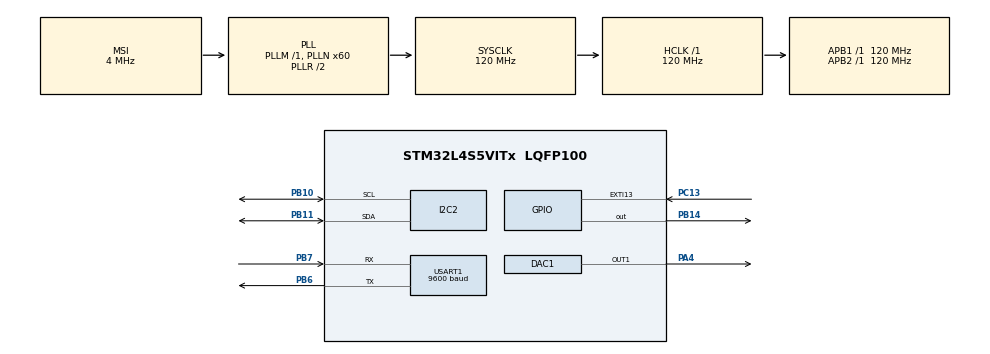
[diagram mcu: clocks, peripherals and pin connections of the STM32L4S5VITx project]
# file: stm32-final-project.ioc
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DAC1.DAC_Trigger-DAC_OUT1=DAC_TRIGGER_T2_TRGO
Dma.DAC1_CH1.0.Direction=DMA_MEMORY_TO_PERIPH
Dma.DAC1_CH1.0.EventEnable=DISABLE
Dma.DAC1_CH1.0.Instance=DMA1_Channel1
Dma.DAC1_CH1.0.MemDataAlignment=DMA_MDATAALIGN_WORD
Dma.DAC1_CH1.0.MemInc=DMA_MINC_ENABLE
Dma.DAC1_CH1.0.Mode=DMA_CIRCULAR
Dma.DAC1_CH1.0.PeriphDataAlignment=DMA_PDATAALIGN_HALFWORD
Dma.DAC1_CH1.0.PeriphInc=DMA_PINC_DISABLE
Dma.DAC1_CH1.0.Polarity=HAL_DMAMUX_REQUEST_GEN_RISING
Dma.DAC1_CH1.0.Priority=DMA_PRIORITY_LOW
Dma.DAC1_CH1.0.RequestNumber=1
Dma.DAC1_CH1.0.SignalID=NONE
Dma.DAC1_CH1.0.SyncEnable=DISABLE
Dma.DAC1_CH1.0.SyncPolarity=HAL_DMAMUX_SYNC_NO_EVENT
Dma.DAC1_CH1.0.SyncRequestNumber=1
Dma.DAC1_CH1.0.SyncSignalID=NONE
Dma.Request0=DAC1_CH1
I2C2.Timing=0x30A175AB
Mcu.Family=STM32L4
Mcu.Name=STM32L4S5VITx
Mcu.Package=LQFP100
NVIC.DMA1_Channel1_IRQn=true\:0\:0\:false\:false\:true\:false\:true\:true
NVIC.EXTI15_10_IRQn=true\:0\:0\:false\:false\:true\:true\:true\:true
NVIC.PriorityGroup=NVIC_PRIORITYGROUP_4
NVIC.TIM3_IRQn=true\:0\:0\:false\:false\:true\:true\:true\:true
NVIC.TIM6_DAC_IRQn=true\:0\:0\:false\:false\:true\:true\:true\:true
PA4.Signal=COMP_DAC11_group
PB10.Mode=I2C
PB10.Signal=I2C2_SCL
PB11.Mode=I2C
PB11.Signal=I2C2_SDA
PB14.Signal=GPIO_Output
PB6.Mode=Asynchronous
PB6.Signal=USART1_TX
PB7.Mode=Asynchronous
PB7.Signal=USART1_RX
PC13.GPIO_ModeDefaultEXTI=GPIO_MODE_IT_RISING_FALLING
PC13.Signal=GPXTI13
ProjectManager.HeapSize=0x200
ProjectManager.StackSize=0x400
ProjectManager.TargetToolchain=STM32CubeIDE
RCC.ADCFreq_Value=48000000
RCC.AHBFreq_Value=120000000
RCC.APB1Freq_Value=120000000
RCC.APB1TimFreq_Value=120000000
RCC.APB2Freq_Value=120000000
RCC.APB2TimFreq_Value=120000000
RCC.CortexFreq_Value=120000000
RCC.HCLKFreq_Value=120000000
RCC.HSE_VALUE=8000000
RCC.HSI48_VALUE=48000000
RCC.HSI_VALUE=16000000
RCC.LSE_VALUE=32768
RCC.MSI_VALUE=4000000
RCC.PLLN=60
RCC.PLLSAI1N=24
RCC.SYSCLKFreq_VALUE=120000000
RCC.SYSCLKSource=RCC_SYSCLKSOURCE_PLLCLK
RCC.USBFreq_Value=48000000
RCC.VCOOutputFreq_Value=240000000
SH.COMP_DAC11_group.0=DAC1_OUT1,DAC_OUT1
TIM2.Period=2721
TIM2.TIM_MasterOutputTrigger=TIM_TRGO_UPDATE
TIM3.Period=1000
TIM3.Prescaler=11999
USART1.BaudRate=9600
USART1.VirtualMode-Asynchronous=VM_ASYNC
VP_TIM2_VS_ClockSourceINT.Mode=Internal
VP_TIM3_VS_ClockSourceINT.Mode=Internal
board=B-L4S5I-IOT01A

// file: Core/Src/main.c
/* USER CODE BEGIN Header */
/**
  ******************************************************************************
  * @file           : main.c
  * @brief          : Main program body
  ******************************************************************************
  * @attention
  *
  * Copyright (c) 2024 STMicroelectronics.
  * All rights reserved.
  *
  * This software is licensed under terms that can be found in the LICENSE file
  * in the root directory of this software component.
  * If no LICENSE file comes with this software, it is provided AS-IS.
  *
  ******************************************************************************
  */
/* USER CODE END Header */
#include "main.h"

/* USER CODE BEGIN Includes */
#include "arm_math.h"
#include "stm32l4s5i_iot01_accelero.h"
#include "kalman_filter.h"
/* USER CODE END Includes */

DAC_HandleTypeDef hdac1;
DMA_HandleTypeDef hdma_dac1_ch1;

I2C_HandleTypeDef hi2c2;

TIM_HandleTypeDef htim2;
TIM_HandleTypeDef htim3;

UART_HandleTypeDef huart1;

/* USER CODE BEGIN PV */
uint32_t sawtoothWave_1[110];
uint32_t sawtoothWave_2[55];
uint32_t sawtoothWave_3[28];
uint32_t* waves[] = {sawtoothWave_1, sawtoothWave_2, sawtoothWave_3};
int sizes[3] = {110, 55, 28};
int buttonPressed = 0;
uint16_t BTN_Pin = GPIO_PIN_13;
int playSound;
int wave;
/* USER CODE END PV */

void SystemClock_Config(void);
static void MX_GPIO_Init(void);
static void MX_DMA_Init(void);
static void MX_I2C2_Init(void);
static void MX_USART1_UART_Init(void);
static void MX_DAC1_Init(void);
static void MX_TIM2_Init(void);
static void MX_TIM3_Init(void);

/* USER CODE BEGIN 0 */
void HAL_GPIO_EXTI_Callback(uint16_t GPIO_Pin) {
    if (GPIO_Pin == BTN_Pin) {
    	// When pushbutton is held down
        if (HAL_GPIO_ReadPin(GPIOC, BTN_Pin) == GPIO_PIN_RESET) {
            buttonPressed = 1;
            HAL_TIM_Base_Start_IT(&htim3); // Start TIM3 interrupt
        }
        // When pushbutton is released
        else {
            buttonPressed = 0;
            HAL_TIM_Base_Stop_IT(&htim3); // Stop TIM3 interrupt
            HAL_DAC_Stop_DMA(&hdac1, DAC_CHANNEL_1); // Ensure DAC is stopped
        }
    }
}

void HAL_TIM_PeriodElapsedCallback(TIM_HandleTypeDef *htim) {
    if (htim == &htim3 && buttonPressed) {
        if (playSound) {
        	// Stop the sound (to create an arpeggio effect while button is held down)
            HAL_DAC_Stop_DMA(&hdac1, DAC_CHANNEL_1);
            playSound = 0;
        } else {
        	wave = (wave + 1) % 3; // Switch to another waveform
        	uint32_t* sawtoothWave = waves[wave];

        	// Start the sound
            int size = sizes[wave];
            HAL_DAC_Start_DMA(&hdac1, DAC_CHANNEL_1, sawtoothWave, size, DAC_ALIGN_12B_R);
            playSound = 1;
        }
    }
}

/* USER CODE END 0 */

int main(void)
{

  /* MCU Configuration--------------------------------------------------------*/

  /* Reset of all peripherals, Initializes the Flash interface and the Systick. */
  HAL_Init();

  /* USER CODE BEGIN Init */
  BSP_ACCELERO_Init();

  /* USER CODE END Init */

  /* Configure the system clock */
  SystemClock_Config();

  /* Initialize all configured peripherals */
  MX_GPIO_Init();
  MX_DMA_Init();
  MX_I2C2_Init();
  MX_USART1_UART_Init();
  MX_DAC1_Init();
  MX_TIM2_Init();
  MX_TIM3_Init();
  /* USER CODE BEGIN 2 */
  int16_t acceleroVal[3];

  float pitch, roll;

  char output[100];

  struct kstate {
      float q;
      float r;
      float x;
      float p;
      float k;
  };
  // Adjust parameters for precision
  struct kstate roll_filter = {0.01f, 0.1f, 0.0f, 1.0f, 0.0f};
  struct kstate pitch_filter = {0.01f, 0.1f, 0.0f, 1.0f, 0.0f};

  // Sawtooth waveform generation
  for (uint32_t j = 0; j < 110; j++){ // 400 Hz
	  sawtoothWave_1[j] = j * 37;
  }

  for (uint32_t j = 0; j < 55; j++){ // 800 Hz
  	  sawtoothWave_2[j] = j * 74;
  }

  for (uint32_t j = 0; j < 28; j++){ // 1575 Hz
  	  sawtoothWave_3[j] = j * 146;
  }

  HAL_DAC_Start(&hdac1, DAC_CHANNEL_1);
  HAL_TIM_Base_Start_IT(&htim2);
  HAL_TIM_Base_Start_IT(&htim3);
  /* USER CODE END 2 */

  /* Infinite loop */
  while (1)
  {

    /* USER CODE BEGIN 3 */
	  // Get accelerometer data (X, Y, Z axes) and store it in acceleroVal array
	  BSP_ACCELERO_AccGetXYZ(acceleroVal);

	  // Convert raw accelerometer readings to floating-point values for calculations
	  float ax = (float)acceleroVal[0];
	  float ay = (float)acceleroVal[1];
	  float az = (float)acceleroVal[2];

	  // Compute denominator for pitch calculation: sqrt(ay^2 + az^2)
	  float pitch_denom = sqrtf(ay * ay + az * az);
	  // Compute denominator for roll calculation: sqrt(ax^2 + az^2)
	  float roll_denom = sqrtf(ax * ax + az * az);

	  // Calculate pitch angle (in degrees) using arctangent formula
	  pitch = atan2f(-ax, pitch_denom) * (180.0f / M_PI);
	  // Calculate roll angle (in degrees) using arctangent formula
	  roll = atan2f(ay, roll_denom) * (180.0f / M_PI);

	  // Update Kalman filters for roll and pitch angles (only update if no floating point exception occurs)
	  if (kalmanFilter_update(&roll_filter, roll) == 0) {
		  roll = roll_filter.x;
	  }
	  if (kalmanFilter_update(&pitch_filter, pitch) == 0) {
		  pitch = pitch_filter.x;
	  }

	  // Format the roll, pitch, and buttonPressed status into a string for UART transmission
	  sprintf(output, "Roll: %.2f, Pitch: %.2f, Button: %d\r\n", roll, pitch, buttonPressed);

	  // Transmit the formatted string over UART (timeout of 10 seconds)
	  int16_t len = strlen(output);
	  HAL_UART_Transmit(&huart1, (uint8_t*)output, len, 10000);

	  HAL_Delay(10);
  }
  /* USER CODE END 3 */
}

void SystemClock_Config(void)
{
  RCC_OscInitTypeDef RCC_OscInitStruct = {0};
  RCC_ClkInitTypeDef RCC_ClkInitStruct = {0};

  /** Configure the main internal regulator output voltage
  */
  if (HAL_PWREx_ControlVoltageScaling(PWR_REGULATOR_VOLTAGE_SCALE1_BOOST) != HAL_OK)
  {
    Error_Handler();
  }

  /** Initializes the RCC Oscillators according to the specified parameters
  * in the RCC_OscInitTypeDef structure.
  */
  RCC_OscInitStruct.OscillatorType = RCC_OSCILLATORTYPE_MSI;
  RCC_OscInitStruct.MSIState = RCC_MSI_ON;
  RCC_OscInitStruct.MSICalibrationValue = 0;
  RCC_OscInitStruct.MSIClockRange = RCC_MSIRANGE_6;
  RCC_OscInitStruct.PLL.PLLState = RCC_PLL_ON;
  RCC_OscInitStruct.PLL.PLLSource = RCC_PLLSOURCE_MSI;
  RCC_OscInitStruct.PLL.PLLM = 1;
  RCC_OscInitStruct.PLL.PLLN = 60;
  RCC_OscInitStruct.PLL.PLLP = RCC_PLLP_DIV2;
  RCC_OscInitStruct.PLL.PLLQ = RCC_PLLQ_DIV2;
  RCC_OscInitStruct.PLL.PLLR = RCC_PLLR_DIV2;
  if (HAL_RCC_OscConfig(&RCC_OscInitStruct) != HAL_OK)
  {
    Error_Handler();
  }

  /** Initializes the CPU, AHB and APB buses clocks
  */
  RCC_ClkInitStruct.ClockType = RCC_CLOCKTYPE_HCLK|RCC_CLOCKTYPE_SYSCLK
                              |RCC_CLOCKTYPE_PCLK1|RCC_CLOCKTYPE_PCLK2;
  RCC_ClkInitStruct.SYSCLKSource = RCC_SYSCLKSOURCE_PLLCLK;
  RCC_ClkInitStruct.AHBCLKDivider = RCC_SYSCLK_DIV1;
  RCC_ClkInitStruct.APB1CLKDivider = RCC_HCLK_DIV1;
  RCC_ClkInitStruct.APB2CLKDivider = RCC_HCLK_DIV1;

  if (HAL_RCC_ClockConfig(&RCC_ClkInitStruct, FLASH_LATENCY_5) != HAL_OK)
  {
    Error_Handler();
  }
}

static void MX_DAC1_Init(void)
{

  DAC_ChannelConfTypeDef sConfig = {0};

  /** DAC Initialization
  */
  hdac1.Instance = DAC1;
  if (HAL_DAC_Init(&hdac1) != HAL_OK)
  {
    Error_Handler();
  }

  /** DAC channel OUT1 config
  */
  sConfig.DAC_SampleAndHold = DAC_SAMPLEANDHOLD_DISABLE;
  sConfig.DAC_Trigger = DAC_TRIGGER_T2_TRGO;
  sConfig.DAC_HighFrequency = DAC_HIGH_FREQUENCY_INTERFACE_MODE_ABOVE_80MHZ;
  sConfig.DAC_OutputBuffer = DAC_OUTPUTBUFFER_ENABLE;
  sConfig.DAC_ConnectOnChipPeripheral = DAC_CHIPCONNECT_DISABLE;
  sConfig.DAC_UserTrimming = DAC_TRIMMING_FACTORY;
  if (HAL_DAC_ConfigChannel(&hdac1, &sConfig, DAC_CHANNEL_1) != HAL_OK)
  {
    Error_Handler();
  }

}

static void MX_I2C2_Init(void)
{

  hi2c2.Instance = I2C2;
  hi2c2.Init.Timing = 0x30A175AB;
  hi2c2.Init.OwnAddress1 = 0;
  hi2c2.Init.AddressingMode = I2C_ADDRESSINGMODE_7BIT;
  hi2c2.Init.DualAddressMode = I2C_DUALADDRESS_DISABLE;
  hi2c2.Init.OwnAddress2 = 0;
  hi2c2.Init.OwnAddress2Masks = I2C_OA2_NOMASK;
  hi2c2.Init.GeneralCallMode = I2C_GENERALCALL_DISABLE;
  hi2c2.Init.NoStretchMode = I2C_NOSTRETCH_DISABLE;
  if (HAL_I2C_Init(&hi2c2) != HAL_OK)
  {
    Error_Handler();
  }

  /** Configure Analogue filter
  */
  if (HAL_I2CEx_ConfigAnalogFilter(&hi2c2, I2C_ANALOGFILTER_ENABLE) != HAL_OK)
  {
    Error_Handler();
  }

  /** Configure Digital filter
  */
  if (HAL_I2CEx_ConfigDigitalFilter(&hi2c2, 0) != HAL_OK)
  {
    Error_Handler();
  }

}

static void MX_TIM2_Init(void)
{

  TIM_ClockConfigTypeDef sClockSourceConfig = {0};
  TIM_MasterConfigTypeDef sMasterConfig = {0};

  htim2.Instance = TIM2;
  htim2.Init.Prescaler = 0;
  htim2.Init.CounterMode = TIM_COUNTERMODE_UP;
  htim2.Init.Period = 2721;
  htim2.Init.ClockDivision = TIM_CLOCKDIVISION_DIV1;
  htim2.Init.AutoReloadPreload = TIM_AUTORELOAD_PRELOAD_DISABLE;
  if (HAL_TIM_Base_Init(&htim2) != HAL_OK)
  {
    Error_Handler();
  }
  sClockSourceConfig.ClockSource = TIM_CLOCKSOURCE_INTERNAL;
  if (HAL_TIM_ConfigClockSource(&htim2, &sClockSourceConfig) != HAL_OK)
  {
    Error_Handler();
  }
  sMasterConfig.MasterOutputTrigger = TIM_TRGO_UPDATE;
  sMasterConfig.MasterSlaveMode = TIM_MASTERSLAVEMODE_DISABLE;
  if (HAL_TIMEx_MasterConfigSynchronization(&htim2, &sMasterConfig) != HAL_OK)
  {
    Error_Handler();
  }

}

static void MX_TIM3_Init(void)
{

  TIM_ClockConfigTypeDef sClockSourceConfig = {0};
  TIM_MasterConfigTypeDef sMasterConfig = {0};

  htim3.Instance = TIM3;
  htim3.Init.Prescaler = 11999;
  htim3.Init.CounterMode = TIM_COUNTERMODE_UP;
  htim3.Init.Period = 1000;
  htim3.Init.ClockDivision = TIM_CLOCKDIVISION_DIV1;
  htim3.Init.AutoReloadPreload = TIM_AUTORELOAD_PRELOAD_DISABLE;
  if (HAL_TIM_Base_Init(&htim3) != HAL_OK)
  {
    Error_Handler();
  }
  sClockSourceConfig.ClockSource = TIM_CLOCKSOURCE_INTERNAL;
  if (HAL_TIM_ConfigClockSource(&htim3, &sClockSourceConfig) != HAL_OK)
  {
    Error_Handler();
  }
  sMasterConfig.MasterOutputTrigger = TIM_TRGO_RESET;
  sMasterConfig.MasterSlaveMode = TIM_MASTERSLAVEMODE_DISABLE;
  if (HAL_TIMEx_MasterConfigSynchronization(&htim3, &sMasterConfig) != HAL_OK)
  {
    Error_Handler();
  }

}

static void MX_USART1_UART_Init(void)
{

  huart1.Instance = USART1;
  huart1.Init.BaudRate = 9600;
  huart1.Init.WordLength = UART_WORDLENGTH_8B;
  huart1.Init.StopBits = UART_STOPBITS_1;
  huart1.Init.Parity = UART_PARITY_NONE;
  huart1.Init.Mode = UART_MODE_TX_RX;
  huart1.Init.HwFlowCtl = UART_HWCONTROL_NONE;
  huart1.Init.OverSampling = UART_OVERSAMPLING_16;
  huart1.Init.OneBitSampling = UART_ONE_BIT_SAMPLE_DISABLE;
  huart1.Init.ClockPrescaler = UART_PRESCALER_DIV1;
  huart1.AdvancedInit.AdvFeatureInit = UART_ADVFEATURE_NO_INIT;
  if (HAL_UART_Init(&huart1) != HAL_OK)
  {
    Error_Handler();
  }
  if (HAL_UARTEx_SetTxFifoThreshold(&huart1, UART_TXFIFO_THRESHOLD_1_8) != HAL_OK)
  {
    Error_Handler();
  }
  if (HAL_UARTEx_SetRxFifoThreshold(&huart1, UART_RXFIFO_THRESHOLD_1_8) != HAL_OK)
  {
    Error_Handler();
  }
  if (HAL_UARTEx_DisableFifoMode(&huart1) != HAL_OK)
  {
    Error_Handler();
  }

}

static void MX_DMA_Init(void)
{

  /* DMA controller clock enable */
  __HAL_RCC_DMAMUX1_CLK_ENABLE();
  __HAL_RCC_DMA1_CLK_ENABLE();

  /* DMA interrupt init */
  /* DMA1_Channel1_IRQn interrupt configuration */
  HAL_NVIC_SetPriority(DMA1_Channel1_IRQn, 0, 0);
  HAL_NVIC_EnableIRQ(DMA1_Channel1_IRQn);

}

static void MX_GPIO_Init(void)
{
  GPIO_InitTypeDef GPIO_InitStruct = {0};

  /* GPIO Ports Clock Enable */
  __HAL_RCC_GPIOC_CLK_ENABLE();
  __HAL_RCC_GPIOA_CLK_ENABLE();
  __HAL_RCC_GPIOB_CLK_ENABLE();

  /*Configure GPIO pin Output Level */
  HAL_GPIO_WritePin(GPIOB, GPIO_PIN_14, GPIO_PIN_RESET);

  /*Configure GPIO pin : PC13 */
  GPIO_InitStruct.Pin = GPIO_PIN_13;
  GPIO_InitStruct.Mode = GPIO_MODE_IT_RISING_FALLING;
  GPIO_InitStruct.Pull = GPIO_NOPULL;
  HAL_GPIO_Init(GPIOC, &GPIO_InitStruct);

  /*Configure GPIO pin : PB14 */
  GPIO_InitStruct.Pin = GPIO_PIN_14;
  GPIO_InitStruct.Mode = GPIO_MODE_OUTPUT_PP;
  GPIO_InitStruct.Pull = GPIO_NOPULL;
  GPIO_InitStruct.Speed = GPIO_SPEED_FREQ_LOW;
  HAL_GPIO_Init(GPIOB, &GPIO_InitStruct);

  /* EXTI interrupt init*/
  HAL_NVIC_SetPriority(EXTI15_10_IRQn, 0, 0);
  HAL_NVIC_EnableIRQ(EXTI15_10_IRQn);

}

void Error_Handler(void)
{
  __disable_irq();
  while (1)
  {
  }
}
